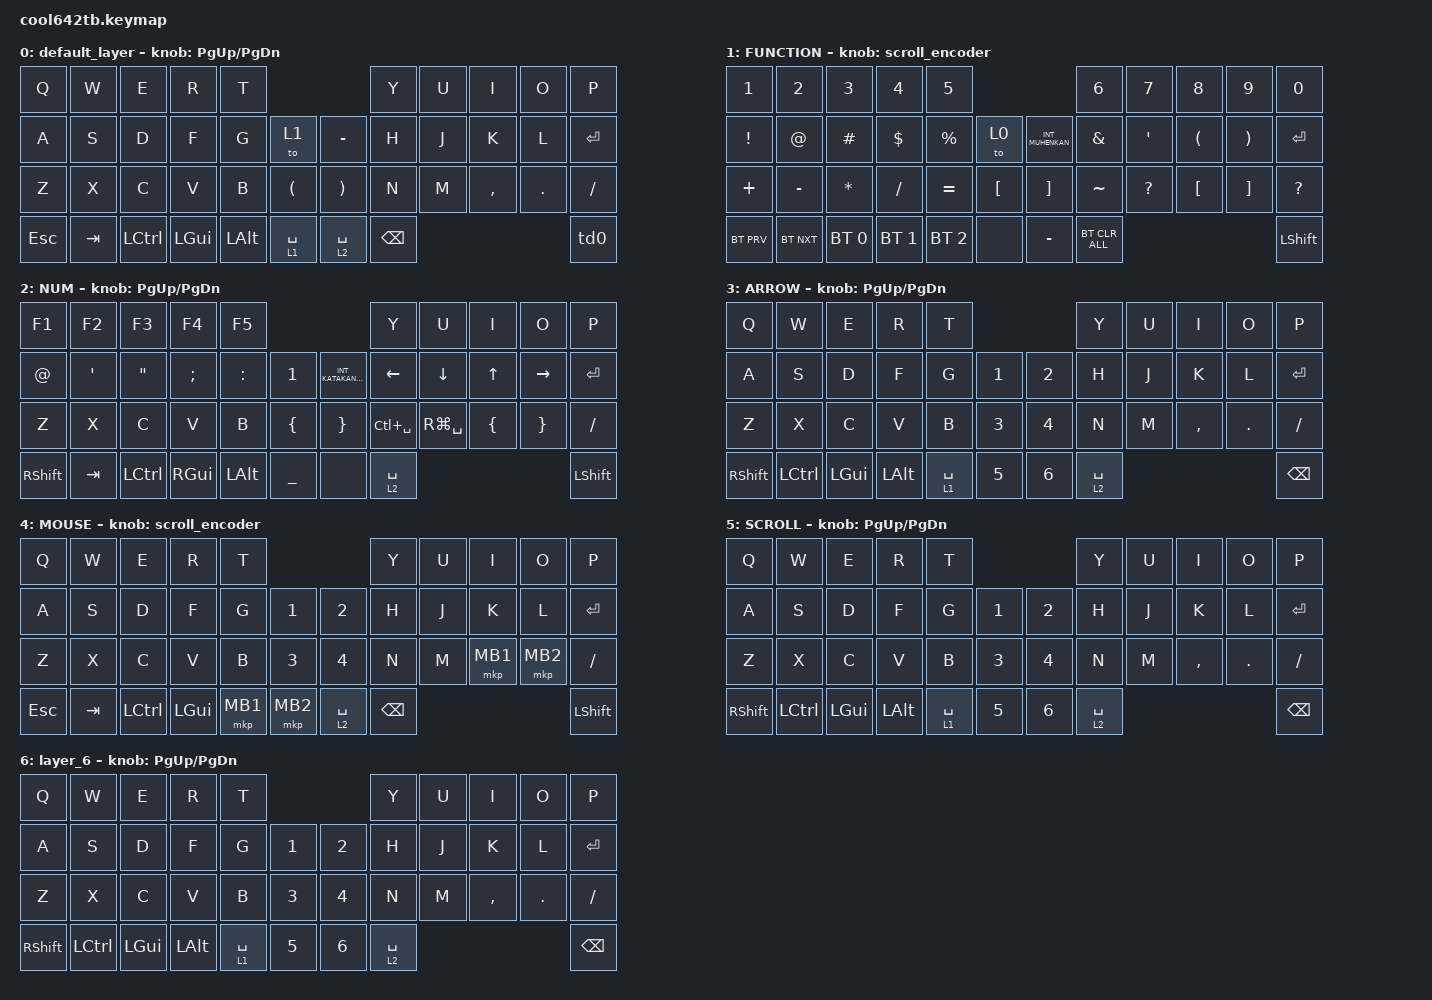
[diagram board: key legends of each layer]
#include <behaviors.dtsi>
#include <dt-bindings/zmk/bt.h>
#include <dt-bindings/zmk/keys.h>

#define ZMK_POINTING_DEFAULT_MOVE_VAL 1200  // 600
#define ZMK_POINTING_DEFAULT_SCRL_VAL 25   // 10

#include <dt-bindings/zmk/pointing.h>

#define MOUSE 4
#define SCROLL 5
#define NUM 6

&mt {
    flavor = "balanced";
    quick-tap-ms = <0>;
};

/ {
    combos {
        compatible = "zmk,combos";

        comb1 {
            bindings = <&kp TAB>;
            key-positions = <11 12>;
        };

        comb2 {
            bindings = <&kp LS(TAB)>;
            key-positions = <12 13>;
        };

        comb3 {
            bindings = <&to_layer_0 INT_MUHENKAN>;
            key-positions = <11 10>;
        };

        comb4 {
            bindings = <&kp DOUBLE_QUOTES>;
            key-positions = <20 21>;
        };

        comb5 {
            bindings = <&kp EQUAL>;
            key-positions = <24 25>;
        };
    };

    macros {
        to_layer_0: to_layer_0 {
            compatible = "zmk,behavior-macro-one-param";
            #binding-cells = <1>;
            bindings = <&to 0 &macro_param_1to1 &kp MACRO_PLACEHOLDER>;
            label = "TO_LAYER_0";
        };
    };

    behaviors {
        lt_to_layer_0: lt_to_layer_0 {
            compatible = "zmk,behavior-hold-tap";
            label = "LAYER_TAP_TO_0";
            bindings = <&mo>, <&to_layer_0>;

            #binding-cells = <2>;
            tapping-term-ms = <200>;
        };

        td0: td0 {
            compatible = "zmk,behavior-tap-dance";
            #binding-cells = <0>;
            bindings = <&kp RSHIFT>, <&kp CAPS>;
        };

        scroll_encoder: scroll_encoder {
            compatible = "zmk,behavior-sensor-rotate";
            #sensor-binding-cells = <0>;
            bindings = <&msc SCRL_UP>, <&msc SCRL_DOWN>;

            tap-ms = <30>;
        };
    };

    keymap {
        compatible = "zmk,keymap";

        default_layer {
            bindings = <
&kp Q    &kp W    &kp E             &kp R         &kp T                                                      &kp Y          &kp U  &kp I      &kp O       &kp P
&kp A    &kp S    &kp D             &kp F         &kp G         &to 1                 &kp MINUS              &kp H          &kp J  &kp K      &kp L       &kp ENTER
&kp Z    &kp X    &kp C             &kp V         &kp B         &kp LEFT_PARENTHESIS  &kp RIGHT_PARENTHESIS  &kp N          &kp M  &kp COMMA  &kp PERIOD  &kp SLASH
&kp ESC  &kp TAB  &kp LEFT_CONTROL  &kp LEFT_GUI  &kp LEFT_ALT  &lt 1 SPACE           &lt 2 SPACE            &kp BACKSPACE                                &td0
            >;

            sensor-bindings = <&inc_dec_kp PG_UP PAGE_DOWN>;
        };

        FUNCTION {
            bindings = <
&kp N1           &kp N2       &kp N3        &kp N4        &kp N5                                             &kp N6          &kp N7        &kp N8                &kp N9                 &kp N0
&kp EXCLAMATION  &kp AT_SIGN  &kp HASH      &kp DOLLAR    &kp PERCENT   &to 0             &kp INT_MUHENKAN   &kp AMPERSAND   &kp SQT       &kp LEFT_PARENTHESIS  &kp RIGHT_PARENTHESIS  &kp ENTER
&kp PLUS         &kp MINUS    &kp ASTERISK  &kp SLASH     &kp EQUAL     &kp LEFT_BRACKET  &kp RIGHT_BRACKET  &kp TILDE       &kp QUESTION  &kp LEFT_BRACKET      &kp RIGHT_BRACKET      &kp QUESTION
&bt BT_PRV       &bt BT_NXT   &bt BT_SEL 0  &bt BT_SEL 1  &bt BT_SEL 2  &none             &kp MINUS          &bt BT_CLR_ALL                                                             &kp LEFT_SHIFT
            >;

            sensor-bindings = <&scroll_encoder>;
        };

        NUM {
            bindings = <
&kp F1       &kp F2   &kp F3             &kp F4         &kp F5                                                  &kp Y          &kp U           &kp I           &kp O            &kp P
&kp AT_SIGN  &kp SQT  &kp DOUBLE_QUOTES  &kp SEMICOLON  &kp COLON     &kp N1          &kp INT_KATAKANAHIRAGANA  &kp LEFT       &kp DOWN_ARROW  &kp UP_ARROW    &kp RIGHT        &kp ENTER
&kp Z        &kp X    &kp C              &kp V          &kp B         &kp LEFT_BRACE  &kp RIGHT_BRACE           &kp LC(SPACE)  &kp RG(SPACE)   &kp LEFT_BRACE  &kp RIGHT_BRACE  &kp SLASH
&kp RSHIFT   &kp TAB  &kp LCTRL          &kp RGUI       &kp LEFT_ALT  &kp UNDERSCORE  &none                     &lt 2 SPACE                                                     &kp LEFT_SHIFT
            >;

            sensor-bindings = <&inc_dec_kp PG_UP PAGE_DOWN>;
        };

        ARROW {
            bindings = <
&kp Q       &kp W      &kp E     &kp R     &kp T                        &kp Y        &kp U  &kp I      &kp O       &kp P
&kp A       &kp S      &kp D     &kp F     &kp G        &kp N1  &kp N2  &kp H        &kp J  &kp K      &kp L       &kp ENTER
&kp Z       &kp X      &kp C     &kp V     &kp B        &kp N3  &kp N4  &kp N        &kp M  &kp COMMA  &kp PERIOD  &kp SLASH
&kp RSHIFT  &kp LCTRL  &kp LGUI  &kp LALT  &lt 1 SPACE  &kp N5  &kp N6  &lt 2 SPACE                                &kp BSPC
            >;

            sensor-bindings = <&inc_dec_kp PG_UP PAGE_DOWN>;
        };

        MOUSE {
            bindings = <
&kp Q       &kp W    &kp E             &kp R         &kp T                            &kp Y          &kp U  &kp I     &kp O     &kp P
&kp A       &kp S    &kp D             &kp F         &kp G     &kp N1    &kp N2       &kp H          &kp J  &kp K     &kp L     &kp ENTER
&kp Z       &kp X    &kp C             &kp V         &kp B     &kp N3    &kp N4       &kp N          &kp M  &mkp MB1  &mkp MB2  &kp SLASH
&kp ESCAPE  &kp TAB  &kp LEFT_CONTROL  &kp LEFT_GUI  &mkp MB1  &mkp MB2  &lt 2 SPACE  &kp BACKSPACE                             &kp LEFT_SHIFT
            >;

            sensor-bindings = <&scroll_encoder>;
        };

        SCROLL {
            bindings = <
&kp Q       &kp W      &kp E     &kp R     &kp T                        &kp Y        &kp U  &kp I      &kp O       &kp P
&kp A       &kp S      &kp D     &kp F     &kp G        &kp N1  &kp N2  &kp H        &kp J  &kp K      &kp L       &kp ENTER
&kp Z       &kp X      &kp C     &kp V     &kp B        &kp N3  &kp N4  &kp N        &kp M  &kp COMMA  &kp PERIOD  &kp SLASH
&kp RSHIFT  &kp LCTRL  &kp LGUI  &kp LALT  &lt 1 SPACE  &kp N5  &kp N6  &lt 2 SPACE                                &kp BSPC
            >;

            sensor-bindings = <&inc_dec_kp PG_UP PAGE_DOWN>;
        };

        layer_6 {
            bindings = <
&kp Q       &kp W      &kp E     &kp R     &kp T                        &kp Y        &kp U  &kp I      &kp O       &kp P
&kp A       &kp S      &kp D     &kp F     &kp G        &kp N1  &kp N2  &kp H        &kp J  &kp K      &kp L       &kp ENTER
&kp Z       &kp X      &kp C     &kp V     &kp B        &kp N3  &kp N4  &kp N        &kp M  &kp COMMA  &kp PERIOD  &kp SLASH
&kp RSHIFT  &kp LCTRL  &kp LGUI  &kp LALT  &lt 1 SPACE  &kp N5  &kp N6  &lt 2 SPACE                                &kp BSPC
            >;

            sensor-bindings = <&inc_dec_kp PG_UP PAGE_DOWN>;
        };
    };
};
